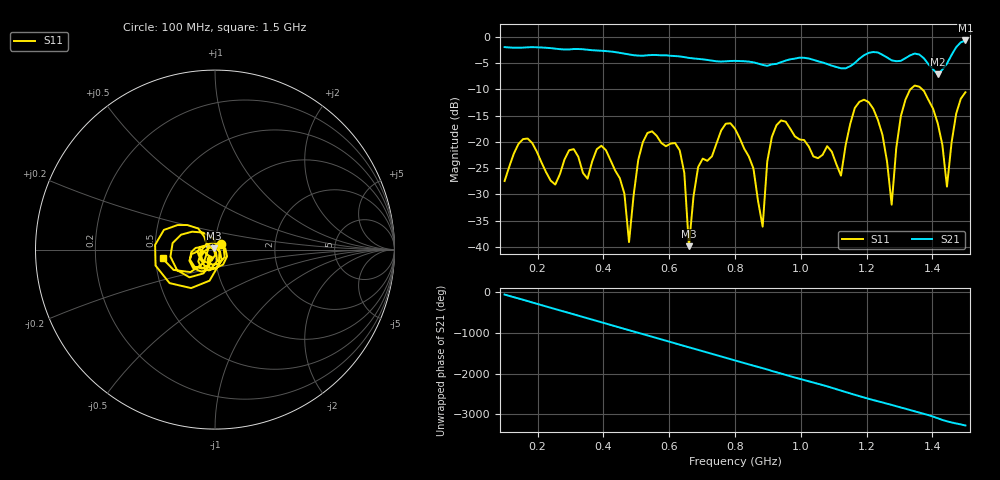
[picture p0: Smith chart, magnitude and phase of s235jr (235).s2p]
! NanoVNA-App
! Date: 2025-09-25 15:05:59
! Start: 100MHz Stop: 1,5GHz Points: 101
! S-Parameter data: F S11 S21 S12 S22
# Hz S RI R 50
!  Frequency  S11_Real  S11_Imag  S21_Real  S21_Imag  S12_Real  S12_Imag  S22_Real  S22_Imag
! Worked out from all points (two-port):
!   101 points, 100 MHz to 1.5 GHz, reference 50 ohm
!   highest |S21| = -0.70 dB at 1.5 GHz (marker M1); lowest = -7.2 dB at 1.416 GHz (marker M2)
!   |S21| within 3 dB of the highest: start of sweep to 624.1 MHz; 1.188 GHz to 1.255 GHz (67.18 MHz wide, 5.5 % of centre) (the widest 2 of 4)
!   lowest |S11| = -39.9 dB at 660 MHz (marker M3), VSWR 1.02, Z = 49.2 + j0.637 ohm
!   |S11| at or under -10 dB: start of sweep to 1.333 GHz; 1.369 GHz to end of sweep
!   S12 and S22 are empty: the file has one direction only
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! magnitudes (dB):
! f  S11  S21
! 100 MHz  -27.5  -2.0
! 170 MHz  -19.4  -2.0
! 338 MHz  -25.9  -2.4
! 408 MHz  -21.6  -2.7
! 478 MHz  -39.1  -3.4
! 520 MHz  -20.1  -3.6
! 576 MHz  -20.2  -3.5
! 632 MHz  -21.6  -3.7
! 660 MHz  -39.9  -4.0
! 688 MHz  -24.8  -4.2
! 800 MHz  -17.5  -4.6
! 884 MHz  -36.2  -5.4
! 898 MHz  -23.8  -5.5
! 926 MHz  -16.8  -5.2
! 1.038 GHz  -22.8  -4.4
! 1.122 GHz  -26.4  -6.0
! 1.206 GHz  -12.4  -3.1
! 1.276 GHz  -32.0  -4.5
! 1.332 GHz  -10.0  -3.5
! 1.416 GHz  -16.5  -7.2
! 1.444 GHz  -28.5  -5.1
! 1.5 GHz  -10.6  -0.7
